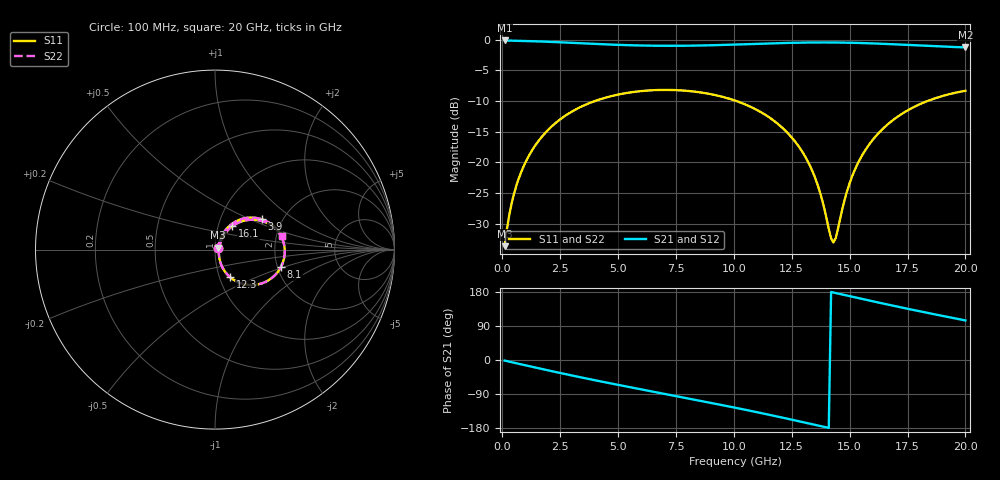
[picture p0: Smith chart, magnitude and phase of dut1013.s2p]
! Touchstone file exported from HFSS 2026.1.0
!  File:  C:/ffzhzh/LocalFiles/Ansys_Project_Files/temp_train_TSV_RDL_1013_1783291707_30076.aedt
!  Generated:  06:57:31 AM Jul  6, 2026
!  Design:  TSV_RDL
!  Project:  temp_train_TSV_RDL_1013_1783291707_30076
! Variables:
!  h_bsmrdl = 4.52um
!  h_ox = 20um
!  h_rdl = 5um
!  h_sub = 78.13um
!  h_tmrdl = 4.15um
!  h_tsv = 78.13um
!  h_via = 3um
!  l_bsmrdl = 721.46um
!  l_sub = 4156.64um
!  l_tmrdl = 368.44um
!  m_sub = 200um
!  pitch = 37.04um
!  r_tsv = 11.34um
!  s_tmrdl = 10um
!  w_bsmrdl = 15.15um
!  w_sub = 500um
!  w_tmrdl = 24.35um
!  x_tsv_center1 = 380.615um
!  x_tsv_center2 = 1117.225um
!  x_tsv_center3 = 1510.015um
!  x_tsv_center4 = 2246.625um
!  x_tsv_center5 = 2639.415um
!  x_tsv_center6 = 3376.025um
# GHz S MA R 50.000000
! Terminal data exported
! Port[1] = TM_RDL1_1_T1
! Port[2] = TM_RDL5_1_T1
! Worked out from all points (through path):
!   200 points, 100 MHz to 20 GHz, reference 50 ohm
!   highest |S21| = -0.15 dB at 100 MHz (marker M1); lowest = -1.3 dB at 20 GHz (marker M2)
!   group delay of S21, straight-line fit = 35.3 ps
!   lowest |S11| = -33.7 dB at 100 MHz (marker M3), VSWR 1.04, Z = 51.8 + j1.11 ohm
!   |S11| at or under -10 dB: start of sweep to 4.012 GHz; 10.1 GHz to 18.37 GHz (8.278 GHz wide, 58.2 % of centre)
!   |S22| runs from -33.7 to -8.2 dB; largest |S21 - S12| = 3.3e-14
!   S11 on the Smith chart (normalised r, x): 100 MHz: 1.04, +0.02; 3.9 GHz: 1.57, +0.59; 8.1 GHz: 2.09, -0.47; 12.3 GHz: 1.12, -0.36; 16.1 GHz: 1.17, +0.31; 20 GHz: 2.16, +0.37
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0.1  0.02077 31.0  0.9824 -1.5  0.9824 -1.5  0.02077 31.0
! Gamma 0 0 0 0
! Port Impedance 50 0 50 0
0.3  0.03723 54.3  0.9801 -4.4  0.9801 -4.4  0.03723 54.3
0.5  0.05499 60.7  0.978 -7.1  0.978 -7.1  0.05499 60.6
1.2  0.1176 62.0  0.9705 -16.8  0.9705 -16.8  0.1176 62.0
2.2  0.2013 52.7  0.9548 -30.3  0.9548 -30.3  0.2013 52.7
3.5  0.2892 37.6  0.9297 -47.2  0.9297 -47.2  0.2892 37.6
3.9  0.3107 32.9  0.9222 -52.2  0.9222 -52.2  0.3107 32.9
5.3  0.3651 16.8  0.9005 -69.2  0.9005 -69.2  0.3651 16.8
6.8  0.3883 -0.1  0.8893 -86.9  0.8893 -86.9  0.3883 -0.1
8.1  0.3801 -14.6  0.8909 -102.2  0.8909 -102.2  0.3801 -14.6
10.1  0.316 -37.1  0.9101 -126.4  0.9101 -126.4  0.316 -37.1
11.3  0.2477 -50.7  0.9262 -141.6  0.9262 -141.6  0.2477 -50.7
12.3  0.1753 -61.3  0.938 -154.8  0.938 -154.8  0.1753 -61.3
13.4  0.08419 -67.6  0.9456 -169.6  0.9456 -169.6  0.08419 -67.7
13.7  0.05877 -64.6  0.9463 -173.7  0.9463 -173.7  0.05876 -64.7
14.2  0.02402 -25.5  0.946 179.4  0.946 179.4  0.02391 -25.7
14.3  0.02228 -4.4  0.9457 178.0  0.9457 178.0  0.02215 -4.5
15.1  0.07617 57.6  0.9405 167.1  0.9405 167.1  0.07609 57.7
16.1  0.1609 53.6  0.9281 153.6  0.9281 153.6  0.1608 53.6
16.7  0.2081 47.7  0.9182 145.6  0.9182 145.6  0.208 47.8
18.3  0.3123 30.1  0.8887 125.1  0.8887 125.1  0.3123 30.1
20  0.3824 11.1  0.8626 104.4  0.8626 104.4  0.3823 11.2
